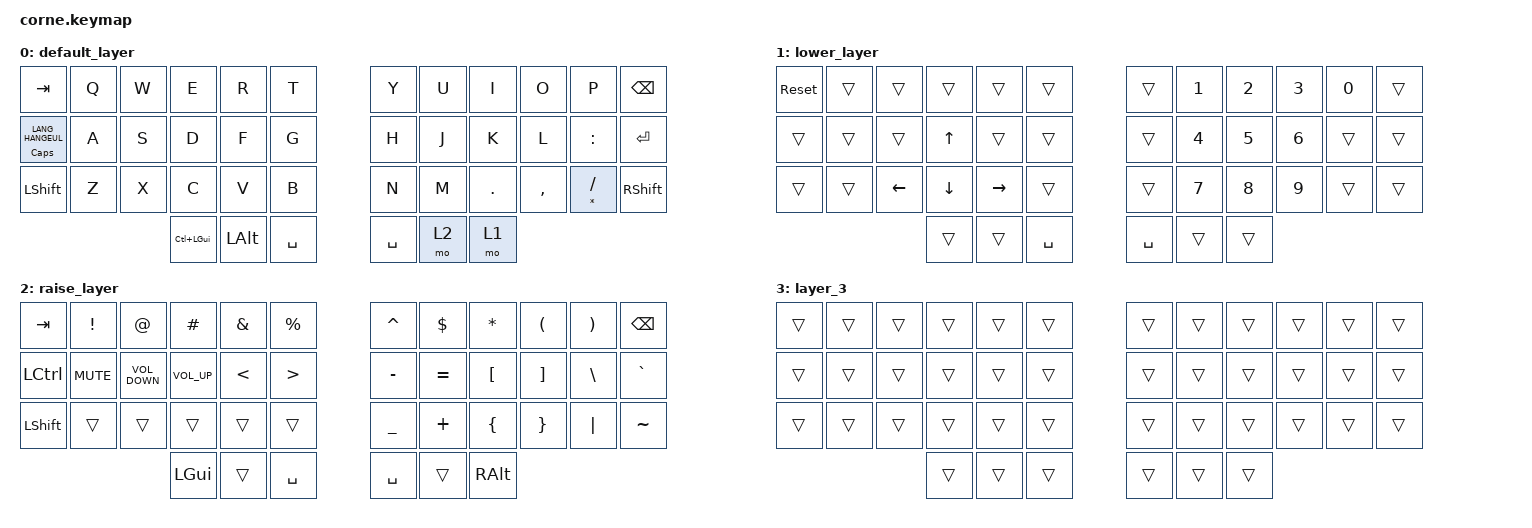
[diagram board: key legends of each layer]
/*
 * Copyright (c) 2020 The ZMK Contributors
 *
 * SPDX-License-Identifier: MIT
 */

#include <behaviors.dtsi>
#include <dt-bindings/zmk/keys.h>

/ {
    combos {
        compatible = "zmk,combos";

        Escape {
            bindings = <&kp ESC>;
            key-positions = <0 11>;
        };

        OpenParenthesis {
            bindings = <&kp LEFT_PARENTHESIS>;
            key-positions = <6 7>;
        };

        OpenBrace {
            bindings = <&kp LEFT_BRACE>;
            key-positions = <18 19>;
        };

        OpenBracket {
            bindings = <&kp LEFT_BRACKET>;
            key-positions = <30 31>;
        };

        CloseParenthasis {
            bindings = <&kp RIGHT_PARENTHESIS>;
            key-positions = <8 7>;
        };

        CloseBrace {
            bindings = <&kp RIGHT_BRACE>;
            key-positions = <19 20>;
        };

        CloseBracket {
            bindings = <&kp RIGHT_BRACKET>;
            key-positions = <31 32>;
        };

        LessThan {
            bindings = <&kp LESS_THAN>;
            key-positions = <3 4>;
        };

        GreatherThan {
            bindings = <&kp GREATER_THAN>;
            key-positions = <4 5>;
        };

        Enter {
            bindings = <&kp ENTER>;
            key-positions = <38 39>;
        };
    };

    keymap {
        compatible = "zmk,keymap";

        default_layer {
            // -----------------------------------------------------------------------------------------
            // |  TAB |  Q  |  W  |  E  |  R  |  T  |   |  Y  |  U   |  I  |  O  |  P  | BSPC |
            // | SHFT |  A  |  S  |  D  |  F  |  G  |   |  H  |  J   |  K  |  L  |  ;  | ENTR |
            // | CTRL |  Z  |  X  |  C  |  V  |  B  |   |  N  |  M   | ./, | '/" |  /* | EQU |
            //                    | GUI | LWR | SPC |   | SPC | L2   | L1  |

            bindings = <
&kp TAB                &kp Q  &kp W  &kp E         &kp R         &kp T        &kp Y      &kp U  &kp I    &kp O      &kp P          &kp BSPC
&mt CAPS LANG_HANGEUL  &kp A  &kp S  &kp D         &kp F         &kp G        &kp H      &kp J  &kp K    &kp L      &kp COLON      &kp ENTER
&kp LEFT_SHIFT         &kp Z  &kp X  &kp C         &kp V         &kp B        &kp N      &kp M  &kp DOT  &kp COMMA  &mt STAR FSLH  &kp RIGHT_SHIFT
                                     &kp LC(LGUI)  &kp LEFT_ALT  &kp SPACE    &kp SPACE  &mo 2  &mo 1
            >;
        };

        lower_layer {
            // -----------------------------------------------------------------------------------------
            // | SYSR |     |     |     |     |     |   |     |  1  |  2  |  3  |  0  |      |
            // |      |     |     | UP  |     |     |   |     |  4  |  5  |  6  |     |      |
            // |      |     | LFT | DWN | RGT |     |   |     |  7  |  8  |  9  |     |      |
            //                    |     |     | SPC |   | SPC |     |     |

            bindings = <
&sys_reset  &trans  &trans    &trans    &trans     &trans       &trans     &kp NUMBER_1  &kp NUMBER_2  &kp NUMBER_3  &kp N0  &trans
&trans      &trans  &trans    &kp UP    &trans     &trans       &trans     &kp NUMBER_4  &kp NUMBER_5  &kp NUMBER_6  &trans  &trans
&trans      &trans  &kp LEFT  &kp DOWN  &kp RIGHT  &trans       &trans     &kp NUMBER_7  &kp NUMBER_8  &kp NUMBER_9  &trans  &trans
                              &trans    &trans     &kp SPACE    &kp SPACE  &trans        &trans
            >;
        };

        raise_layer {
            // -----------------------------------------------------------------------------------------
            // |  TAB |  !  |  @  |  #  |  &  |  %  |   |  ^  |  $  |  *  |  (  |  )  | BSPC |
            // | CTRL |MUTE |V_UP |V_DWN|  <  |  >  |   |  -  |  =  |  [  |  ]  |  \  |  `   |
            // | SHFT |     |     |     |     |     |   |  _  |  +  |  {  |  }  | "|" |  ~   |
            //                    | GUI |     | SPC |   | SPC |     | ALT |

            bindings = <
&kp TAB    &kp EXCL    &kp AT             &kp HASH         &kp AMPERSAND  &kp PRCNT           &kp CARET  &kp DOLLAR  &kp ASTRK  &kp LPAR  &kp RPAR  &kp BSPC
&kp LCTRL  &kp C_MUTE  &kp C_VOLUME_DOWN  &kp C_VOLUME_UP  &kp LESS_THAN  &kp GREATER_THAN    &kp MINUS  &kp EQUAL   &kp LBKT   &kp RBKT  &kp BSLH  &kp GRAVE
&kp LSHFT  &trans      &trans             &trans           &trans         &trans              &kp UNDER  &kp PLUS    &kp LBRC   &kp RBRC  &kp PIPE  &kp TILDE
                                          &kp LGUI         &trans         &kp SPACE           &kp SPACE  &trans      &kp RALT
            >;
        };

        layer_3 {
            bindings = <
&trans  &trans  &trans  &trans  &trans  &trans    &trans  &trans  &trans  &trans  &trans  &trans
&trans  &trans  &trans  &trans  &trans  &trans    &trans  &trans  &trans  &trans  &trans  &trans
&trans  &trans  &trans  &trans  &trans  &trans    &trans  &trans  &trans  &trans  &trans  &trans
                        &trans  &trans  &trans    &trans  &trans  &trans
            >;
        };
    };
};

//For new Layers
// -----------------------------------------------------------------------------------------
// |      |     |     |     |     |     |   |     |     |     |     |     |      |
// |      |     |     |     |     |     |   |     |     |     |     |     |      |
// |      |     |     |     |     |     |   |     |     |     |     |     |      |
//                    |     |     |     |   |     |     |     |
